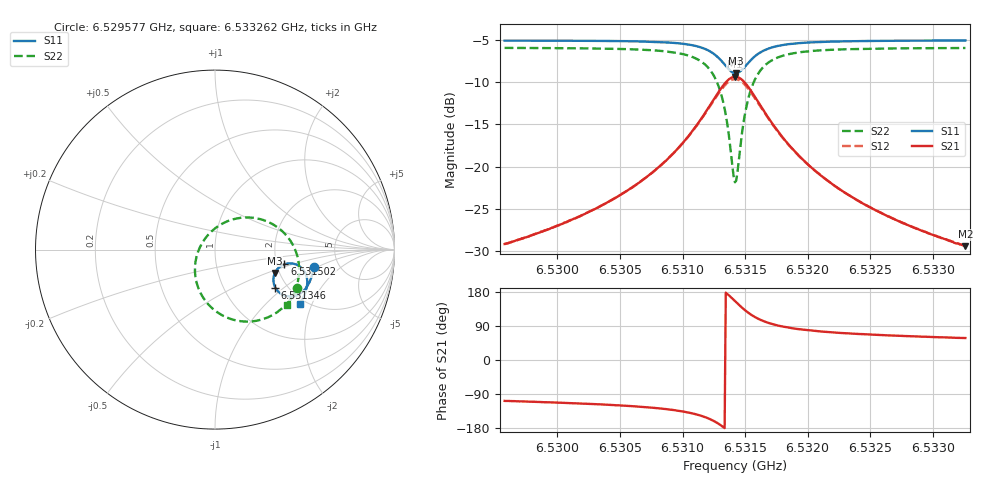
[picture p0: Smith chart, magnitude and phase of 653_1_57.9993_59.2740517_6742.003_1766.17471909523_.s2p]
#  HZ  S  RI  R  50.00
! Rohde & Schwarz Vector Network Analyzer
! Rohde-Schwarz,ZNB20-2Port,1311601062101988,3.16
! Created: UTC 3/21/2024, 1:19:37 AM
! freq[Hz]  re:S11  im:S11  re:S21  im:S21  re:S12  im:S12  re:S22  im:S22
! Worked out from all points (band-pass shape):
!   401 points, 6.529577 GHz to 6.533262 GHz, reference 50 ohm
!   highest |S21| = -9.32 dB at 6.531419 GHz (marker M1); lowest = -29.5 dB at 6.533262 GHz (marker M2)
!   |S21| within 3 dB of the highest: 6.531236 GHz to 6.531605 GHz (368 kHz wide, 0.00563 % of centre)
!   lowest |S11| = -8.9 dB at 6.531429 GHz (marker M3), VSWR 2.12, Z = 94.6 - j28.2 ohm
!   |S11| at or under -10 dB: nowhere
!   |S22| runs from -21.9 to -5.9 dB; largest |S21 - S12| = 0.014
!   S11 on the Smith chart (normalised r, x): 6.529577 GHz: 3.25, -0.94; 6.531346 GHz: 1.73, -0.87; 6.531502 GHz: 2.21, -0.43; 6.533262 GHz: 1.84, -1.64
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6.5295773e9  0.5514 -0.0994  -0.0106 -0.033  -0.0114 -0.0327  0.4589 -0.2166
6.5301944e9  0.5382 -0.1518  -0.0217 -0.0464  -0.0228 -0.0461  0.4227 -0.275
6.5305444e9  0.5244 -0.1856  -0.0362 -0.0609  -0.0379 -0.0599  0.3849 -0.3177
6.5308115e9  0.5057 -0.2159  -0.0607 -0.0788  -0.0629 -0.077  0.3302 -0.3591
6.5310234e9  0.4754 -0.2444  -0.1057 -0.0983  -0.1086 -0.0943  0.2403 -0.3947
6.5311892e9  0.4226 -0.2615  -0.1881 -0.1005  -0.1898 -0.0922  0.0915 -0.3878
6.5312813e9  0.3719 -0.2489  -0.2658 -0.0622  -0.2627 -0.0506  -0.035 -0.3077
6.5313181e9  0.3499 -0.2313  -0.2977 -0.0256  -0.2916 -0.014  -0.0814 -0.2402
6.5313458e9  0.3359 -0.2115  -0.3166 0.0123  -0.3074 0.0229  -0.1051 -0.1735
6.531401e9  0.326 -0.158  -0.3223 0.1088  -0.3091 0.1139  -0.0956 -0.015
6.5314194e9  0.3303 -0.139  -0.3113 0.1417  -0.2979 0.1443  -0.0717 0.0367
6.5314287e9  0.334 -0.1299  -0.3034 0.1573  -0.2902 0.1588  -0.0561 0.0603
6.5314471e9  0.344 -0.1133  -0.2833 0.1854  -0.2708 0.1847  -0.0182 0.1025
6.5314655e9  0.3568 -0.0994  -0.2589 0.2086  -0.2475 0.206  0.0256 0.1359
6.5315023e9  0.3872 -0.0817  -0.2037 0.2373  -0.1955 0.2329  0.1209 0.1735
6.5315668e9  0.4377 -0.0787  -0.1161 0.2416  -0.1122 0.2374  0.2674 0.1653
6.5316589e9  0.4821 -0.1025  -0.0403 0.2052  -0.0388 0.2029  0.3894 0.0879
6.5317971e9  0.5077 -0.1422  0.00402 0.1502  0.00516 0.1492  0.4543 -0.0214
6.5320366e9  0.5139 -0.1896  0.0214 0.0953  0.0225 0.095  0.4681 -0.1327
6.5323037e9  0.5079 -0.2243  0.023 0.0655  0.0241 0.0652  0.4562 -0.1993
6.5326537e9  0.4958 -0.2585  0.0213 0.0455  0.0221 0.0452  0.4357 -0.2518
6.5332616e9  0.4714 -0.3057  0.0178 0.0285  0.0185 0.0283  0.401 -0.3096
